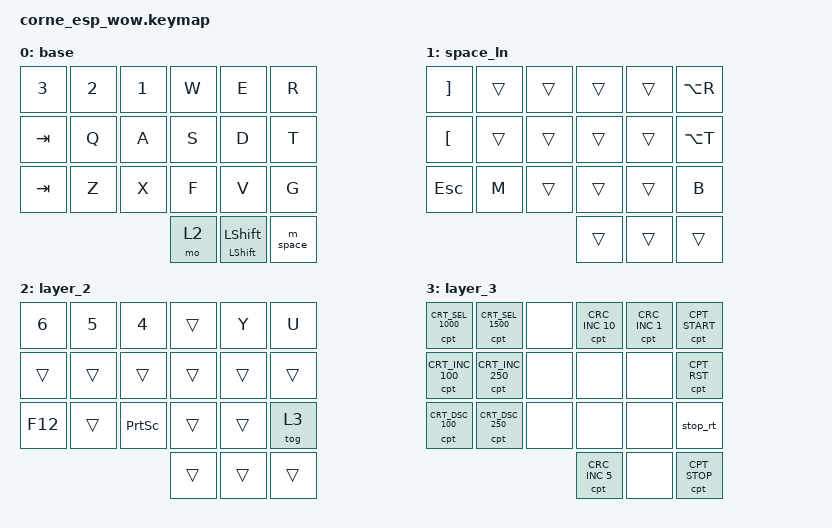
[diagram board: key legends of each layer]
#include <behaviors.dtsi>
#include <dt-bindings/zmk/crepeat.h>
#include <dt-bindings/zmk/keys.h>

/ {
    behaviors {
        ht_space: ht_space {
            compatible = "zmk,behavior-hold-tap";
            label = "HT_SPACE";
            bindings = <&mo>, <&kp>;

            #binding-cells = <2>;
            tapping-term-ms = <200>;
            quick-tap-ms = <150>;
            flavor = "tap-preferred";
        };

        ht_shift: ht_shift {
            compatible = "zmk,behavior-hold-tap";
            label = "HT_SHIFT";
            bindings = <&kp>, <&sk>;

            #binding-cells = <2>;
            tapping-term-ms = <200>;
            flavor = "balanced";
        };
    };

    macros {
        m_space: m_space {
            compatible = "zmk,behavior-macro";
            #binding-cells = <0>;
            bindings =
                <&macro_press>,
                <&mo 1 &kp SPACE>,
                <&macro_pause_for_release>,
                <&macro_release>,
                <&mo 1 &kp SPACE>;

            label = "M_SPACE";
        };

        stop_rt: stop_rt {
            compatible = "zmk,behavior-macro";
            #binding-cells = <0>;
            bindings = <&cpt CPT_STOP &to 0>;
            label = "STOP_RT";
        };
    };

    keymap {
        compatible = "zmk,keymap";

        base {
            bindings = <
&kp N3   &kp N2  &kp N1  &kp W  &kp E                    &kp R
&kp TAB  &kp Q   &kp A   &kp S  &kp D                    &kp T
&kp TAB  &kp Z   &kp X   &kp F  &kp V                    &kp G
                         &mo 2  &ht_shift LSHIFT LSHIFT  &m_space
            >;
        };

        space_ln {
            bindings = <
&kp RIGHT_BRACKET  &trans  &trans  &trans  &trans  &kp LA(R)
&kp LEFT_BRACKET   &trans  &trans  &trans  &trans  &kp LA(T)
&kp ESCAPE         &kp M   &trans  &trans  &trans  &kp B
                                   &trans  &trans  &trans
            >;
        };

        layer_2 {
            bindings = <
&kp N6   &kp N5  &kp N4           &trans  &kp Y   &kp U
&trans   &trans  &trans           &trans  &trans  &trans
&kp F12  &trans  &kp PRINTSCREEN  &trans  &trans  &tog 3
                                  &trans  &trans  &trans
            >;
        };

        layer_3 {
            bindings = <
&cpt CRT_SEL 1000 &cpt CRT_SEL 1500 &none  &cpt CRC_INC 10  &cpt CRC_INC 1  &cpt CPT_START
&cpt CRT_INC 100  &cpt CRT_INC 250  &none  &none  &none  &cpt CPT_RST
&cpt CRT_DSC 100  &cpt CRT_DSC 250  &none  &none  &none  &stop_rt
                            &cpt CRC_INC 5  &none  &cpt CPT_STOP
            >;
        };
    };
};
